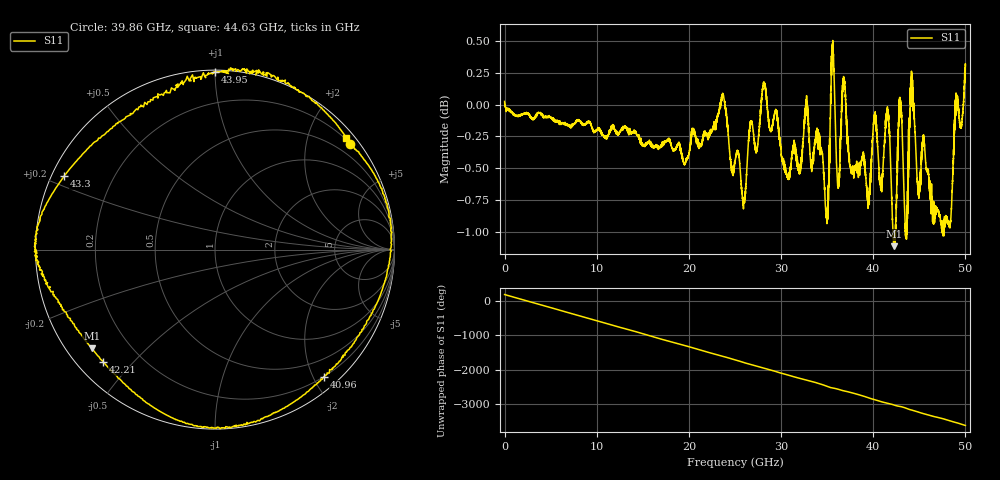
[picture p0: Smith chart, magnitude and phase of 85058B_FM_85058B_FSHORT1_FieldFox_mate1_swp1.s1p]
!Created with skrf (http://scikit-rf.org).
# Hz S RI R 50.0
!freq ReS11 ImS11
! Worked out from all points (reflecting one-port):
!   10000 points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, 5.3 MHz to 50 GHz, reference 50 ohm
!   lowest |S11| = -1.1 dB at 42.28 GHz (marker M1), VSWR 15.66, Z = 3.58 - j17.5 ohm
!   phase of S11 starts at 180 deg and turns -3791 deg over the sweep
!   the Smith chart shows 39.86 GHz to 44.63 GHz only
!   S11 on the Smith chart (normalised r, x): 39.86 GHz: 0.21, +2.90; 40.96 GHz: 0.20, -2.16; 42.21 GHz: 0.07, -0.41; 43.3 GHz: 0.04, +0.23; 43.95 GHz: 0.01, +1.00; 44.63 GHz: 0.17, +2.71
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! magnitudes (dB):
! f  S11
! 5.3 MHz  0.0
! 6.255 GHz  -0.1
! 12.51 GHz  -0.2
! 18.76 GHz  -0.3
! 23.68 GHz  0.1
! 25.01 GHz  -0.4
! 25.98 GHz  -0.8
! 28.16 GHz  0.2
! 31.26 GHz  -0.4
! 32.77 GHz  0.0
! 34.97 GHz  -0.9
! 35.61 GHz  0.5
! 36.17 GHz  -0.6
! 36.81 GHz  0.2
! 37.51 GHz  -0.5
! 39.86 GHz  -0.4
! 40.96 GHz  -0.6
! 41.58 GHz  -0.1
! 42.21 GHz  -1.1
! 42.28 GHz  -1.1
! 42.88 GHz  0.0
! 43.3 GHz  -0.6
! 43.76 GHz  -0.8
! 43.95 GHz  -0.1
! 44.63 GHz  -0.4
! 48.2 GHz  -0.9
! 49 GHz  0.0
! 50 GHz  0.3
